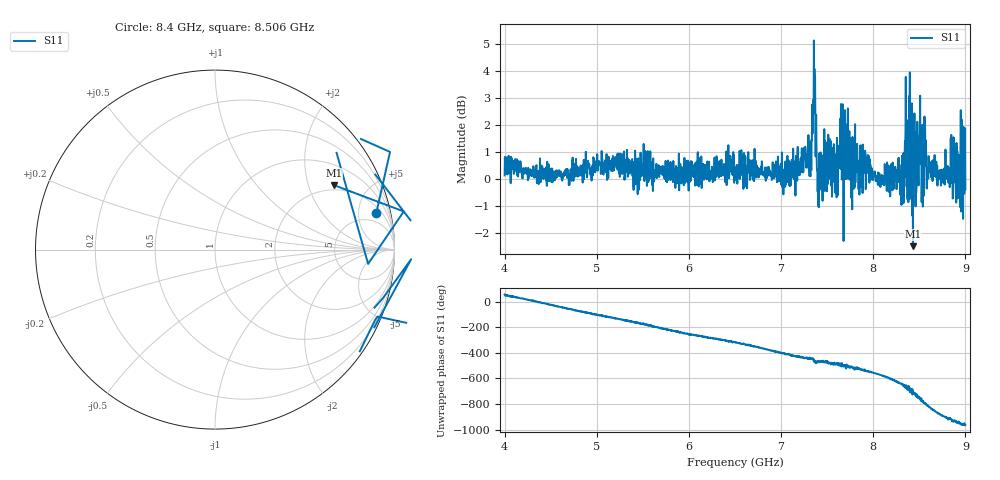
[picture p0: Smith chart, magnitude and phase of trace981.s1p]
! Created with skrf 1.8.0 (http://scikit-rf.org).
# Hz S RI R 50.0
!freq ReS11 ImS11
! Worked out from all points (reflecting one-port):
!   1601 points, 4 GHz to 9 GHz, reference 50 ohm
!   lowest |S11| = -2.5 dB at 8.431 GHz (marker M1), VSWR 7.08, Z = 88.8 + j147 ohm
!   phase of S11 starts at 55 deg and turns -1018 deg over the sweep
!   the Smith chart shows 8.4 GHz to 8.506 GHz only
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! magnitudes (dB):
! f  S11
! 4 GHz  0.2
! 4.625 GHz  0.0
! 5.25 GHz  0.1
! 5.875 GHz  0.2
! 6.5 GHz  0.4
! 7.125 GHz  0.1
! 7.303 GHz  0.5
! 7.356 GHz  5.1
! 7.412 GHz  0.7
! 7.512 GHz  1.7
! 7.606 GHz  1.5
! 7.669 GHz  2.8
! 7.75 GHz  0.5
! 7.775 GHz  1.6
! 7.891 GHz  0.5
! 8.053 GHz  0.3
! 8.262 GHz  0.0
! 8.312 GHz  0.9
! 8.334 GHz  0.4
! 8.375 GHz  0.2
! 8.431 GHz  -2.5
! 8.447 GHz  2.4
! 8.459 GHz  -1.0
! 8.522 GHz  1.4
! 8.606 GHz  0.3
! 8.75 GHz  0.3
! 8.947 GHz  0.7
! 9 GHz  -0.4
